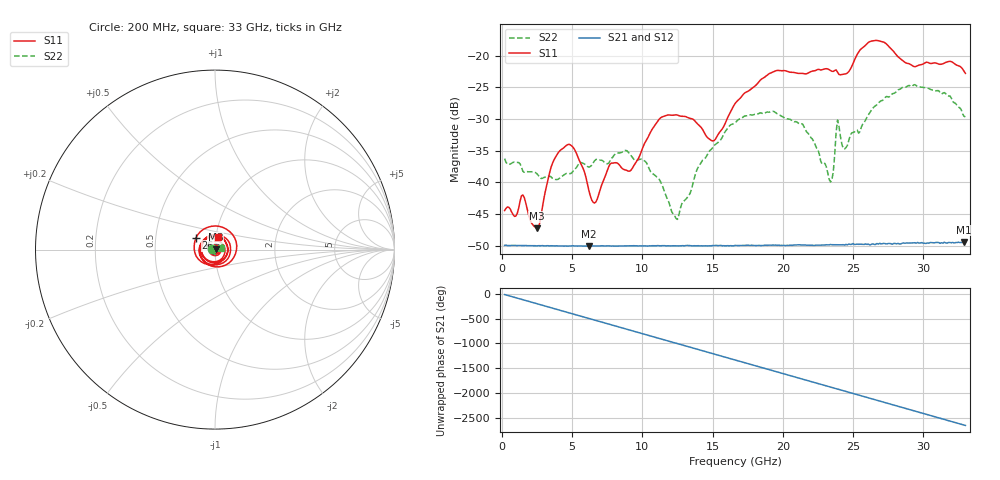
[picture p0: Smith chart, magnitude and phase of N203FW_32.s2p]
# GHZ S RI R 50
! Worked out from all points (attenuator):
!   329 points, 200 MHz to 33 GHz, reference 50 ohm
!   highest |S21| = -49.44 dB at 32.9 GHz (marker M1); lowest = -50.1 dB at 6.2 GHz (marker M2)
!   lowest |S11| = -47.3 dB at 2.5 GHz (marker M3), VSWR 1.01, Z = 50.4 + j0.243 ohm
!   |S11| at or under -10 dB: start of sweep to end of sweep
!   |S22| runs from -45.9 to -24.6 dB; largest |S21 - S12| = 8.8e-05
!   S11 on the Smith chart (normalised r, x): 200 MHz: 1.01, +0.00; 26 GHz: 0.80, +0.10; 33 GHz: 1.03, +0.14
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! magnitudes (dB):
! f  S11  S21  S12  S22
! 200 MHz  -44.5  -50.0  -49.9  -36.3
! 1.5 GHz  -42.0  -50.0  -50.0  -38.3
! 2.5 GHz  -47.3  -50.1  -50.0  -38.7
! 4 GHz  -35.4  -50.1  -50.1  -39.5
! 5.7 GHz  -37.4  -50.1  -50.1  -36.9
! 6.2 GHz  -41.3  -50.1  -50.1  -37.6
! 6.6 GHz  -43.3  -50.1  -50.1  -36.6
! 8.8 GHz  -38.1  -50.1  -50.0  -35.0
! 11.2 GHz  -30.0  -50.0  -50.0  -39.5
! 12.5 GHz  -29.4  -50.1  -50.1  -45.9
! 15.1 GHz  -33.4  -50.0  -50.0  -34.2
! 16.6 GHz  -27.6  -50.0  -50.0  -30.6
! 19.3 GHz  -22.6  -49.9  -49.9  -28.8
! 22.1 GHz  -22.4  -50.0  -49.9  -33.1
! 23.4 GHz  -22.4  -49.8  -49.8  -40.0
! 23.9 GHz  -22.6  -49.9  -49.9  -30.2
! 24.4 GHz  -22.9  -49.9  -49.8  -34.7
! 26 GHz  -18.1  -49.8  -49.8  -29.7
! 27.6 GHz  -18.7  -49.7  -49.7  -26.5
! 31.1 GHz  -21.3  -49.5  -49.3  -25.5
! 32.9 GHz  -22.5  -49.4  -49.4  -29.6
! 33 GHz  -22.8  -49.4  -49.5  -29.7
